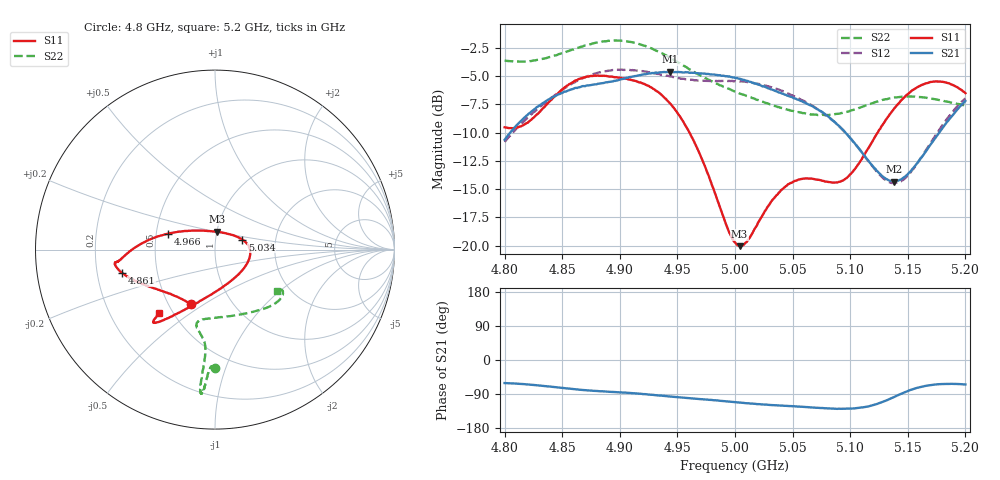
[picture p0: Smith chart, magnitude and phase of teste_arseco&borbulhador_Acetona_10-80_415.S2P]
! Network Analyzer HP8722D
! Hewlett-Packard
! Data name: Linha & Wilkinson
! Saver's name: Rodrigo Anjos
! Comments: Teste da utilização de aquisição
! continua pelo VNA HP8722D
! Time and date: 17/4/2025 17:49
!  Frequency  S11  S21  S12  S22
# HZ  S  MA R 50
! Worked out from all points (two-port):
!   401 points, 4.8 GHz to 5.2 GHz, reference 50 ohm
!   highest |S21| = -4.63 dB at 4.944 GHz (marker M1); lowest = -14.3 dB at 5.138 GHz (marker M2)
!   |S21| within 3 dB of the highest: 4.83 GHz to 5.066 GHz (236.3 MHz wide, 4.78 % of centre); 5.196003 GHz to end of sweep
!   lowest |S11| = -20.0 dB at 5.004 GHz (marker M3), VSWR 1.22, Z = 50 + j10 ohm
!   |S11| at or under -10 dB: 4.96 GHz to 5.124 GHz (163.4 MHz wide, 3.24 % of centre)
!   |S22| runs from -8.5 to -1.9 dB; largest |S21 - S12| = 0.88
!   S11 on the Smith chart (normalised r, x): 4.8 GHz: 0.64, -0.44; 4.861 GHz: 0.31, -0.11; 4.966 GHz: 0.58, +0.11; 5.034 GHz: 1.35, +0.15; 5.2 GHz: 0.42, -0.39
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4.8e9  0.3335 -113.8  0.2937 -60.9  0.2873 -175.0  0.6581 -90.1
4.819e9  0.3477 -133.9  0.3755 -64.3  0.3632 -173.9  0.6523 -91.7
4.861e9  0.5352 -166.0  0.4971 -77.2  0.5273 -176.9  0.7411 -94.1
4.867e9  0.5497 -168.4  0.5056 -78.9  0.5464 -177.9  0.7573 -94.2
4.901e9  0.5513 -172.9  0.5435 -85.3  0.6001 175.1  0.8051 -95.7
4.934e9  0.4746 -178.9  0.5823 -93.7  0.5741 171.7  0.7169 -95.9
4.944e9  0.4232 176.5  0.5867 -96.5  0.5589 171.9  0.6752 -95.8
4.966e9  0.2775 161.4  0.5781 -102.2  0.538 173.7  0.5798 -95.3
5e9  0.1033 98.2  0.5513 -111.2  0.5337 176.0  0.4797 -99.5
5.004e9  0.09951 84.3  0.5462 -112.4  0.5302 175.9  0.47 -100.3
5.012e9  0.1071 59.0  0.5308 -114.3  0.528 175.9  0.455 -102.0
5.034e9  0.1624 20.1  0.4853 -119.2  0.4964 174.6  0.4148 -103.5
5.05e9  0.1907 3.7  0.4532 -122.1  0.4611 173.9  0.394 -99.5
5.067e9  0.1977 -14.5  0.4138 -125.3  0.4151 173.5  0.3799 -90.5
5.087e9  0.1902 -46.7  0.3501 -128.5  0.35 173.6  0.3815 -75.3
5.097e9  0.199 -67.3  0.311 -128.7  0.3113 174.7  0.39 -67.0
5.134e9  0.3784 -117.2  0.1939 -103.3  0.1908 -156.3  0.4472 -43.0
5.138e9  0.4025 -119.4  0.192 -97.8  0.1887 -149.9  0.4504 -41.2
5.15e9  0.4667 -124.8  0.2068 -81.8  0.2043 -131.4  0.4559 -36.8
5.17e9  0.5285 -129.5  0.2808 -66.2  0.2854 -112.3  0.4467 -32.1
5.184e9  0.5238 -130.8  0.3522 -63.0  0.3631 -107.4  0.4333 -31.2
5.2e9  0.4718 -131.2  0.4361 -64.6  0.4477 -106.6  0.4165 -33.5
